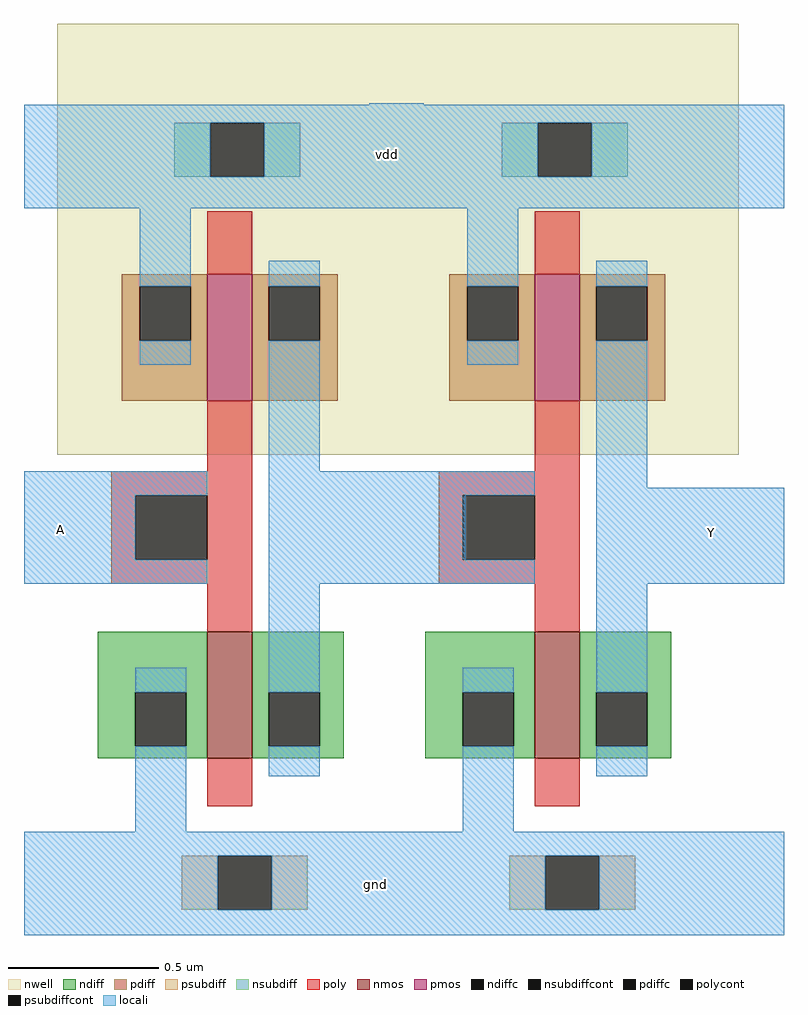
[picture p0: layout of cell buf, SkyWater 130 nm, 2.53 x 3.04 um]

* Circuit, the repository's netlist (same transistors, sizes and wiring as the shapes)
* NGSPICE file created from buf.ext - technology: sky130A

.subckt inv Y A GND VDD
X0 Y A GND GND sky130_fd_pr__nfet_01v8 ad=0.128 pd=1.45 as=0.153 ps=1.57 w=0.42 l=0.15
X1 Y A VDD VDD sky130_fd_pr__pfet_01v8 ad=0.12 pd=1.41 as=0.12 ps=1.41 w=0.42 l=0.15
.ends

.subckt buf A Y vdd gnd
Xinv_0 inv_1/A A gnd vdd inv
Xinv_1 Y inv_1/A gnd vdd inv
.ends

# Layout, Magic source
magic
tech sky130A
magscale 1 2
<< locali >>
rect 2 476 11 545
rect 232 476 268 546
rect 198 301 199 302
rect 2 226 76 301
rect 198 226 296 301
rect 416 226 508 290
rect 218 -8 256 60
rect 499 -8 508 61
use inv  inv_0
transform 1 0 124 0 1 151
box -122 -159 166 448
use inv  inv_1
transform 1 0 342 0 1 151
box -122 -159 166 448
<< labels >>
rlabel locali 26 262 26 262 0 A
port 1 e
rlabel locali 460 260 460 260 0 Y
port 2 w
rlabel locali 244 512 244 512 0 vdd
port 3 n
rlabel locali 236 26 236 26 1 gnd
port 4 n
<< end >>

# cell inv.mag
magic
tech sky130A
magscale 1 2
<< nwell >>
rect -100 161 136 448
<< nmos >>
rect 0 -41 30 43
<< pmos >>
rect 0 197 30 281
<< ndiff >>
rect -73 3 0 43
rect -73 -33 -48 3
rect -14 -33 0 3
rect -73 -41 0 -33
rect 30 3 91 43
rect 30 -33 41 3
rect 75 -33 91 3
rect 30 -41 91 -33
<< pdiff >>
rect -57 273 0 281
rect -57 237 -45 273
rect -11 237 0 273
rect -57 197 0 237
rect 30 273 87 281
rect 30 237 41 273
rect 75 237 87 273
rect 30 197 87 237
<< ndiffc >>
rect -48 -33 -14 3
rect 41 -33 75 3
<< pdiffc >>
rect -45 237 -11 273
rect 41 237 75 273
<< psubdiff >>
rect -17 -142 7 -106
rect 43 -142 67 -106
<< nsubdiff >>
rect -22 346 2 382
rect 38 346 62 382
<< psubdiffcont >>
rect 7 -142 43 -106
<< nsubdiffcont >>
rect 2 346 38 382
<< poly >>
rect 0 281 30 323
rect 0 150 30 197
rect -64 134 30 150
rect -64 91 -48 134
rect 0 91 30 134
rect -64 75 30 91
rect 0 43 30 75
rect 0 -73 30 -41
<< polycont >>
rect -48 91 0 134
<< locali >>
rect -113 382 166 394
rect -113 346 2 382
rect 38 346 166 382
rect -113 325 166 346
rect -45 273 -11 325
rect -45 221 -11 237
rect 41 273 75 290
rect -48 134 0 150
rect -48 75 0 91
rect -48 3 -14 19
rect -48 -90 -14 -33
rect 41 3 75 237
rect 41 -53 75 -33
rect -122 -106 157 -90
rect -122 -142 7 -106
rect 43 -142 157 -106
rect -122 -159 157 -142
<< labels >>
rlabel locali 62 135 62 135 1 Y
port 1 n
rlabel locali -24 113 -24 113 1 A
port 2 n
rlabel locali 25 -124 25 -124 1 GND
port 3 n
rlabel locali 17 364 17 364 1 VDD
port 4 n
<< end >>
